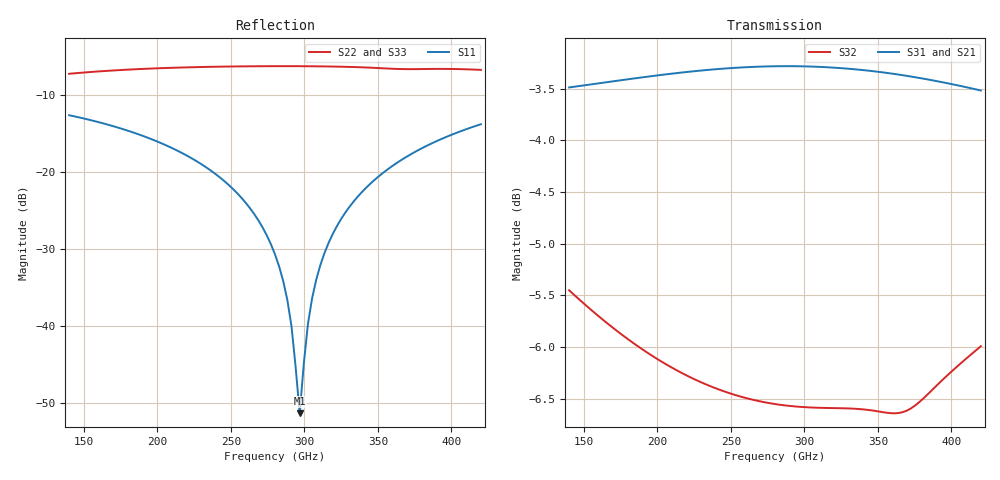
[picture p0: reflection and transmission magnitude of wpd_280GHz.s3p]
#  GHZ S DB R 50
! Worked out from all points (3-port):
!   101 points, 140 GHz to 420 GHz, reference 50 ohm
!   strongest paths, dB at 140 GHz, 210 GHz, 280 GHz, 350 GHz, 420 GHz:
!     S31: -3.5, -3.4, -3.3, -3.3, -3.5
!     S21: -3.5, -3.4, -3.3, -3.4, -3.5
!     S32: -5.5, -6.2, -6.6, -6.6, -6.0
!   lowest |S11| = -51.3 dB at 296.8 GHz (marker M1), VSWR 1.01, Z = 49.7 + j0.0101 ohm
!   |S11| at or under -10 dB: start of sweep to end of sweep
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140  -12.58 136.0  -3.49 -43.3  -3.49 -43.3
     -3.49 -43.3  -7.20 54.2  -5.45 -95.4
     -3.49 -43.3  -5.45 -95.4  -7.22 54.2
232.4  -19.25 107.3  -3.33 -73.2  -3.32 -73.2
       -3.33 -73.2  -6.32 13.0  -6.36 -149.4
       -3.32 -73.2  -6.36 -149.4  -6.34 12.9
260.4  -24.02 99.2  -3.30 -82.5  -3.29 -82.5
       -3.30 -82.5  -6.24 2.8  -6.50 -165.2
       -3.29 -82.5  -6.50 -165.2  -6.26 2.7
280  -30.65 95.6  -3.29 -89.0  -3.28 -89.0
     -3.29 -89.0  -6.22 -4.1  -6.55 -176.3
     -3.28 -89.0  -6.55 -176.3  -6.24 -4.1
291.2  -39.95 102.3  -3.29 -92.8  -3.28 -92.8
       -3.29 -92.8  -6.22 -7.9  -6.57 177.4
       -3.28 -92.8  -6.57 177.4  -6.25 -8.0
296.8  -51.28 177.9  -3.30 -94.6  -3.28 -94.7
       -3.30 -94.6  -6.22 -9.8  -6.58 174.2
       -3.28 -94.7  -6.58 174.2  -6.25 -9.9
305.2  -36.38 -108.4  -3.30 -97.5  -3.29 -97.5
       -3.30 -97.5  -6.23 -12.7  -6.59 169.5
       -3.29 -97.5  -6.59 169.5  -6.26 -12.8
324.8  -26.11 -107.6  -3.32 -104.0  -3.30 -104.1
       -3.32 -104.0  -6.29 -19.5  -6.59 158.3
       -3.30 -104.1  -6.59 158.3  -6.32 -19.6
361.2  -18.99 -117.8  -3.37 -116.2  -3.36 -116.3
       -3.37 -116.2  -6.56 -31.6  -6.64 137.9
       -3.36 -116.3  -6.64 137.9  -6.60 -31.7
420  -13.76 -136.3  -3.53 -135.6  -3.52 -135.7
     -3.53 -135.6  -6.70 -53.6  -5.99 104.9
     -3.52 -135.7  -5.99 104.9  -6.74 -53.8
